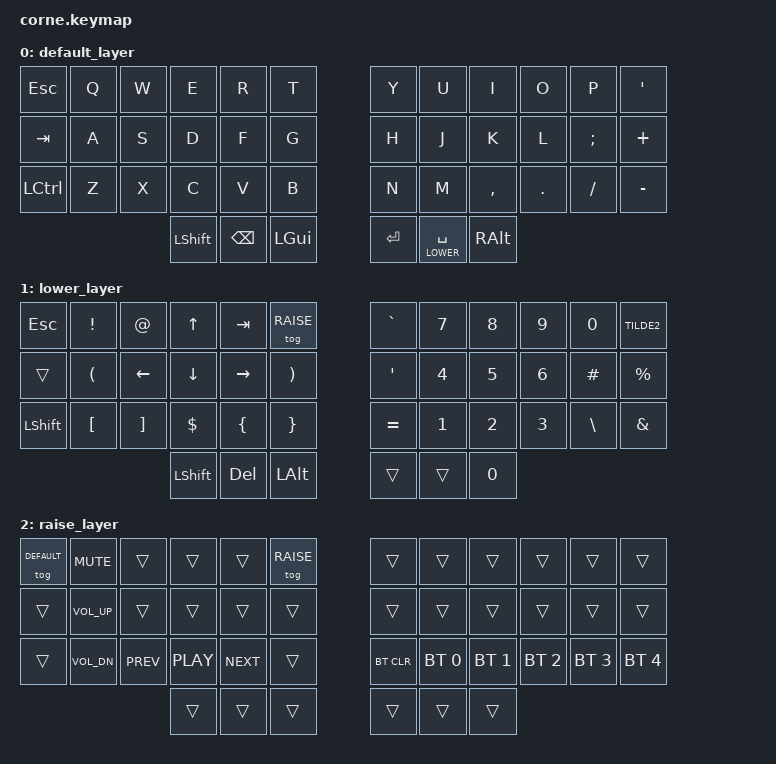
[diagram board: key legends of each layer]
/*
 * Copyright (c) 2020 The ZMK Contributors
 * testing
 * SPDX-License-Identifier: MIT
 */

#include <behaviors.dtsi>
#include <dt-bindings/zmk/keys.h>
#include <dt-bindings/zmk/bt.h>

#define DEFAULT 0
#define LOWER   1
#define RAISE   2

/ {
        keymap {
                compatible = "zmk,keymap";

        default_layer {
// -----------------------------------------------------------------------------------------
// |  TAB |  Q  |  W  |  E  |  R  |  T  |   |  Y  |  U   |  I  |  O  |  P  | BKSP |
// | CTRL |  A  |  S  |  D  |  F  |  G  |   |  H  |  J   |  K  |  L  |  ;  |  '   |
// | SHFT |  Z  |  X  |  C  |  V  |  B  |   |  N  |  M   |  ,  |  .  |  /  | SHFT |
//                    | GUI | LWR | SPC |   | ENT | RSE  | ALT |
                        bindings = <
   &kp ESC      &kp Q   &kp W   &kp E       &kp R       &kp T               &kp Y      &kp U            &kp I       &kp O       &kp P       &kp SQT
   &kp TAB      &kp A   &kp S   &kp D       &kp F       &kp G               &kp H      &kp J            &kp K       &kp L       &kp SEMI    &kp PLUS
   &kp LCTRL    &kp Z   &kp X   &kp C       &kp V       &kp B               &kp N      &kp M            &kp COMMA   &kp DOT     &kp FSLH    &kp MINUS
                                &kp LSHFT   &kp BSPC    &kp LGUI            &kp RET    &lt LOWER SPACE  &kp RALT
                        >;
                };
                lower_layer {
// -----------------------------------------------------------------------------------------
// |  ESC |  1  |  2  |  3  |  4  |  5  |   |  6  |  7  |  8  |  9  |  0  | BKSP |
// | BTCLR| BT1 | BT2 | BT3 | BT4 | BT5 |   | LFT | DWN |  UP | RGT |     |      |
// | SHFT |     |     |     |     |     |   |     |     |     |     |     |      |
//                    | GUI |     | SPC |   | ENT |     | ALT |
                        bindings = <
   &kp ESC      &kp EXCL    &kp AT      &kp UP      &kp TAB     &tog RAISE              &kp GRAVE &kp N7  &kp N8  &kp N9  &kp N0      &kp TILDE2
   &trans       &kp LPAR    &kp LEFT    &kp DOWN    &kp RIGHT   &kp RPAR                &kp SQT   &kp N4  &kp N5  &kp N6  &kp HASH    &kp PRCNT
   &kp LSHFT    &kp LBKT    &kp RBKT    &kp DLLR    &kp LBRC    &kp RBRC                &kp EQUAL &kp N1  &kp N2  &kp N3  &kp BSLH    &kp AMPS
                                        &kp LSHFT   &kp DEL     &kp LALT                &trans    &trans  &kp N0
                        >;
                };

                raise_layer {
// -----------------------------------------------------------------------------------------
// |  ESC |  !  |  @  |  #  |  $  |  %  |   |  ^  |  &  |  *  |  (  |  )  | BKSP |
// | CTRL |     |     |     |     |     |   |  -  |  =  |  {  |  }  | "|" |  `   |
// | SHFT |     |     |     |     |     |   |  _  |  +  |  [  |  ]  |  \  |  ~   | 
//                    | GUI |     | SPC |   | ENT |     | ALT |
                        bindings = <
   &tog DEFAULT &kp C_MUTE     &trans       &trans      &trans      &tog RAISE          &trans          &trans          &trans          &trans          &trans          &trans
   &trans       &kp C_VOL_UP   &trans       &trans      &trans      &trans              &trans          &trans          &trans          &trans          &trans          &trans
   &trans       &kp C_VOL_DN   &kp C_PREV   &kp C_PLAY  &kp C_NEXT  &trans              &bt BT_CLR      &bt BT_SEL 0    &bt BT_SEL 1    &bt BT_SEL 2    &bt BT_SEL 3    &bt BT_SEL 4
                                            &trans      &trans      &trans              &trans          &trans          &trans
                        >;
                };
        };
};
